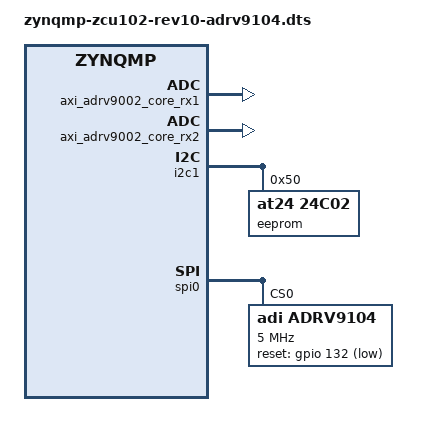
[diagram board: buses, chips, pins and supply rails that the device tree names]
// SPDX-License-Identifier: GPL-2.0
/*
 * Analog Devices ADRV9104
 *
 * hdl_project: <adrv9104/zcu102>
 * board_revision: <>
 *
 * Copyright (C) 2025 Analog Devices Inc.
 */
#include "zynqmp-zcu102-rev1.0.dts"

&i2c1 {
	i2c-mux@75 {
		i2c@0 { /* HPC0 */
			#address-cells = <1>;
			#size-cells = <0>;
			reg = <0>;
			/* HPC0_IIC */
			eeprom@50 {
				compatible = "at24,24c02";
				reg = <0x50>;
			};
		};
	};
};

/ {
	fpga_axi {
		interrupt-parent = <&gic>;
		compatible = "simple-bus";
		#address-cells = <0x1>;
		#size-cells = <0x1>;
		ranges = <0 0 0 0xffffffff>;

		rx1_dma: dma-controller@84A30000 {
			compatible = "adi,axi-dmac-1.00.a";
			reg = <0x84A30000 0x10000>;
			#dma-cells = <1>;
			//dma-coherent;
			interrupts = <0 109 IRQ_TYPE_LEVEL_HIGH>;
			clocks = <&zynqmp_clk 71>;
		};

		rx2_dma: dma-controller@84A40000 {
			compatible = "adi,axi-dmac-1.00.a";
			reg = <0x84A40000 0x10000>;
			#dma-cells = <1>;
			//dma-coherent;
			interrupts = <0 108 IRQ_TYPE_LEVEL_HIGH>;
			clocks = <&zynqmp_clk 71>;
		};

		tx1_dma: dma-controller@84A50000 {
			compatible = "adi,axi-dmac-1.00.a";
			reg = <0x84A50000 0x10000>;
			#dma-cells = <1>;
			//dma-coherent;
			interrupts = <0 105 IRQ_TYPE_LEVEL_HIGH>;
			clocks = <&zynqmp_clk 71>;
		};

		axi_adrv9002_core_rx1: axi-adc@84A00000 {
			compatible = "adi,axi-adc-10.0.a";
			reg = <0x84A00000 0x1000>;
			clocks = <&zynqmp_clk 0>;
			dmas = <&rx1_dma 0>;
			dma-names = "rx";
			#io-backend-cells = <0>;
		};

		axi_adrv9002_core_rx2: axi-adc@84A01000 {
			compatible = "adi,axi-adc-10.0.a";
			reg = <0x84A01000 0x1000>;
			clocks = <&zynqmp_clk 71>;
			dmas = <&rx2_dma 0>;
			dma-names = "rx";
			#io-backend-cells = <0>;
		};

		axi_adrv9002_core_tx1: axi-dac@84A02000 {
			compatible = "adi,axi-dac-9.1.b";
			reg = <0x84A02000 0x2000>;
			clocks = <&zynqmp_clk 71>;
			clock-names = "s_axi_aclk";
			dmas = <&tx1_dma 0>;
			dma-names = "tx";
			#io-backend-cells = <0>;
		};

		axi_sysid_0: axi-sysid-0@85000000 {
			compatible = "adi,axi-sysid-1.00.a";
			reg = <0x85000000 0x10000>;
		};

	};

	clocks {
		adrv9002_clkin: clock@0 {
			compatible = "fixed-clock";

			clock-frequency = <38400000>;
			clock-output-names = "adrv9002_ext_refclk";
			#clock-cells = <0>;
		};
	};
};

&spi0 {
	status = "okay";

	adrv9104: rf@0 {
		compatible = "adi,adrv9104";
		reg = <0>;

		spi-max-frequency = <5000000>;

		clocks = <&adrv9002_clkin>;
		io-backends = <&axi_adrv9002_core_rx1>, <&axi_adrv9002_core_rx2>, <&axi_adrv9002_core_tx1>;
		io-backend-names = "rx1-backend", "rx2-backend", "tx-backend";

		reset-gpios = <&gpio 132 GPIO_ACTIVE_LOW>;
	};
};
